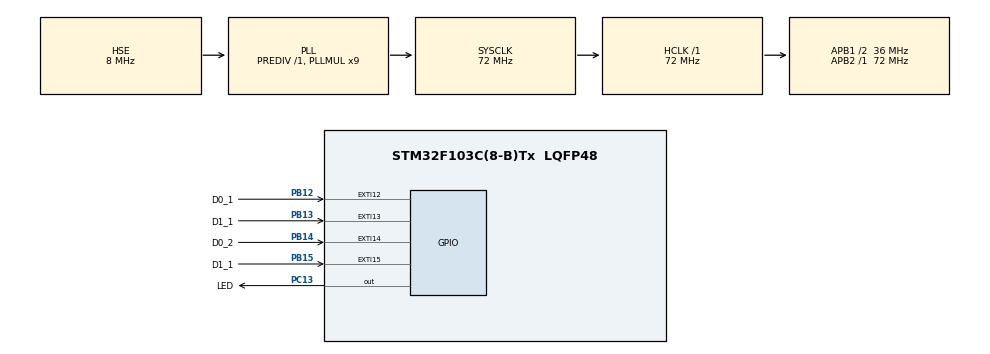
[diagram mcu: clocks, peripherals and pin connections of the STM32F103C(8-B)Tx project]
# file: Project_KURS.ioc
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Mcu.Family=STM32F1
Mcu.Name=STM32F103C(8-B)Tx
Mcu.Package=LQFP48
NVIC.EXTI15_10_IRQn=true\:0\:0\:false\:false\:true\:true\:true
NVIC.PriorityGroup=NVIC_PRIORITYGROUP_4
PA13.Mode=Serial_Wire
PA13.Signal=SYS_JTMS-SWDIO
PA14.Mode=Serial_Wire
PA14.Signal=SYS_JTCK-SWCLK
PB12.GPIO_Label=D0_1
PB12.GPIO_ModeDefaultEXTI=GPIO_MODE_IT_FALLING
PB12.GPIO_PuPd=GPIO_PULLDOWN
PB12.Signal=GPXTI12
PB13.GPIO_Label=D1_1
PB13.GPIO_ModeDefaultEXTI=GPIO_MODE_IT_FALLING
PB13.GPIO_PuPd=GPIO_PULLDOWN
PB13.Signal=GPXTI13
PB14.GPIO_Label=D0_2
PB14.GPIO_ModeDefaultEXTI=GPIO_MODE_IT_FALLING
PB14.GPIO_PuPd=GPIO_PULLDOWN
PB14.Signal=GPXTI14
PB15.GPIO_Label=D1_1
PB15.GPIO_ModeDefaultEXTI=GPIO_MODE_IT_FALLING
PB15.GPIO_PuPd=GPIO_PULLDOWN
PB15.Signal=GPXTI15
PC13-TAMPER-RTC.GPIO_Label=LED
PC13-TAMPER-RTC.Signal=GPIO_Output
PD0-OSC_IN.Mode=HSE-External-Oscillator
PD0-OSC_IN.Signal=RCC_OSC_IN
PD1-OSC_OUT.Mode=HSE-External-Oscillator
PD1-OSC_OUT.Signal=RCC_OSC_OUT
ProjectManager.HeapSize=0x200
ProjectManager.StackSize=0x400
ProjectManager.TargetToolchain=STM32CubeIDE
RCC.AHBFreq_Value=72000000
RCC.APB1CLKDivider=RCC_HCLK_DIV2
RCC.APB1Freq_Value=36000000
RCC.APB1TimFreq_Value=72000000
RCC.APB2Freq_Value=72000000
RCC.APB2TimFreq_Value=72000000
RCC.HCLKFreq_Value=72000000
RCC.PLLMUL=RCC_PLL_MUL9
RCC.PLLSourceVirtual=RCC_PLLSOURCE_HSE
RCC.SYSCLKFreq_VALUE=72000000
RCC.SYSCLKSource=RCC_SYSCLKSOURCE_PLLCLK
RCC.USBFreq_Value=72000000
board=custom

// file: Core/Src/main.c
/* USER CODE BEGIN Header */
/**
  ******************************************************************************
  * @file           : main.c
  * @brief          : Main program body
  ******************************************************************************
  * @attention
  *
  * Copyright (c) 2022 STMicroelectronics.
  * All rights reserved.
  *
  * This software is licensed under terms that can be found in the LICENSE file
  * in the root directory of this software component.
  * If no LICENSE file comes with this software, it is provided AS-IS.
  *
  ******************************************************************************
  */
/* USER CODE END Header */
#include "main.h"

void SystemClock_Config(void);
static void MX_GPIO_Init(void);

/* USER CODE BEGIN 0 */
uint32_t time = 200;
int k=1;
/* USER CODE END 0 */

int main(void)
{

  /* MCU Configuration--------------------------------------------------------*/

  /* Reset of all peripherals, Initializes the Flash interface and the Systick. */
  HAL_Init();

  /* Configure the system clock */
  SystemClock_Config();

  /* Initialize all configured peripherals */
  MX_GPIO_Init();

  /* Infinite loop */
  /* USER CODE BEGIN WHILE */
  while (1)
  {
      HAL_GPIO_WritePin(GPIOC, GPIO_PIN_13, GPIO_PIN_SET);

      HAL_Delay(200);

      HAL_GPIO_WritePin(GPIOC, GPIO_PIN_13, GPIO_PIN_RESET);

      HAL_Delay(200);

      /*uint32_t  ct = HAL_GetTick();
      if(ct > time) {
          HAL_GPIO_WritePin(LED_GPIO_Port,LED_Pin,GPIO_PIN_SET);
          HAL_Delay(2000);
      }else {
          HAL_GPIO_WritePin(LED_GPIO_Port,LED_Pin,GPIO_PIN_RESET);
          HAL_Delay(2000);
      }*/

    /* USER CODE END WHILE */

  }
}

void SystemClock_Config(void)
{
  RCC_OscInitTypeDef RCC_OscInitStruct = {0};
  RCC_ClkInitTypeDef RCC_ClkInitStruct = {0};

  /** Initializes the RCC Oscillators according to the specified parameters
  * in the RCC_OscInitTypeDef structure.
  */
  RCC_OscInitStruct.OscillatorType = RCC_OSCILLATORTYPE_HSE;
  RCC_OscInitStruct.HSEState = RCC_HSE_ON;
  RCC_OscInitStruct.HSEPredivValue = RCC_HSE_PREDIV_DIV1;
  RCC_OscInitStruct.HSIState = RCC_HSI_ON;
  RCC_OscInitStruct.PLL.PLLState = RCC_PLL_ON;
  RCC_OscInitStruct.PLL.PLLSource = RCC_PLLSOURCE_HSE;
  RCC_OscInitStruct.PLL.PLLMUL = RCC_PLL_MUL9;
  if (HAL_RCC_OscConfig(&RCC_OscInitStruct) != HAL_OK)
  {
    Error_Handler();
  }
  /** Initializes the CPU, AHB and APB buses clocks
  */
  RCC_ClkInitStruct.ClockType = RCC_CLOCKTYPE_HCLK|RCC_CLOCKTYPE_SYSCLK
                              |RCC_CLOCKTYPE_PCLK1|RCC_CLOCKTYPE_PCLK2;
  RCC_ClkInitStruct.SYSCLKSource = RCC_SYSCLKSOURCE_PLLCLK;
  RCC_ClkInitStruct.AHBCLKDivider = RCC_SYSCLK_DIV1;
  RCC_ClkInitStruct.APB1CLKDivider = RCC_HCLK_DIV2;
  RCC_ClkInitStruct.APB2CLKDivider = RCC_HCLK_DIV1;

  if (HAL_RCC_ClockConfig(&RCC_ClkInitStruct, FLASH_LATENCY_2) != HAL_OK)
  {
    Error_Handler();
  }
}

static void MX_GPIO_Init(void)
{
  GPIO_InitTypeDef GPIO_InitStruct = {0};

  /* GPIO Ports Clock Enable */
  __HAL_RCC_GPIOC_CLK_ENABLE();
  __HAL_RCC_GPIOD_CLK_ENABLE();
  __HAL_RCC_GPIOB_CLK_ENABLE();
  __HAL_RCC_GPIOA_CLK_ENABLE();

  /*Configure GPIO pin Output Level */
  HAL_GPIO_WritePin(LED_GPIO_Port, LED_Pin, GPIO_PIN_RESET);

  /*Configure GPIO pin : LED_Pin */
  GPIO_InitStruct.Pin = LED_Pin;
  GPIO_InitStruct.Mode = GPIO_MODE_OUTPUT_PP;
  GPIO_InitStruct.Pull = GPIO_NOPULL;
  GPIO_InitStruct.Speed = GPIO_SPEED_FREQ_LOW;
  HAL_GPIO_Init(LED_GPIO_Port, &GPIO_InitStruct);

  /*Configure GPIO pins : D0_1_Pin D1_1_Pin D0_2_Pin D1_1B15_Pin */
  GPIO_InitStruct.Pin = D0_1_Pin|D1_1_Pin|D0_2_Pin|D1_1B15_Pin;
  GPIO_InitStruct.Mode = GPIO_MODE_IT_FALLING;
  GPIO_InitStruct.Pull = GPIO_PULLDOWN;
  HAL_GPIO_Init(GPIOB, &GPIO_InitStruct);

  /* EXTI interrupt init*/
  HAL_NVIC_SetPriority(EXTI15_10_IRQn, 0, 0);
  HAL_NVIC_EnableIRQ(EXTI15_10_IRQn);

}

/* USER CODE BEGIN 4 */
void HAL_GPIO_EXTI_Callback(uint16_t GPIO_Pin) {

    if(GPIO_Pin == GPIO_PIN_12) {

        if(HAL_GPIO_ReadPin(GPIOC, GPIO_Pin) == GPIO_PIN_SET){
            HAL_GPIO_WritePin(GPIOC, GPIO_PIN_13, GPIO_PIN_SET);
        }
        else{
            HAL_GPIO_WritePin(GPIOC, GPIO_PIN_13, GPIO_PIN_RESET);
        }
    } else if(GPIO_Pin == GPIO_PIN_13){

        if(HAL_GPIO_ReadPin(GPIOC, GPIO_Pin) == GPIO_PIN_SET){
            HAL_GPIO_WritePin(GPIOC, GPIO_PIN_13, GPIO_PIN_SET);
        }
            else{
                HAL_GPIO_WritePin(GPIOC, GPIO_PIN_13, GPIO_PIN_RESET);
            }

    } else{

        __NOP();

    }
}
/* USER CODE END 4 */

void Error_Handler(void)
{
  __disable_irq();
  while (1)
  {
  }
}
